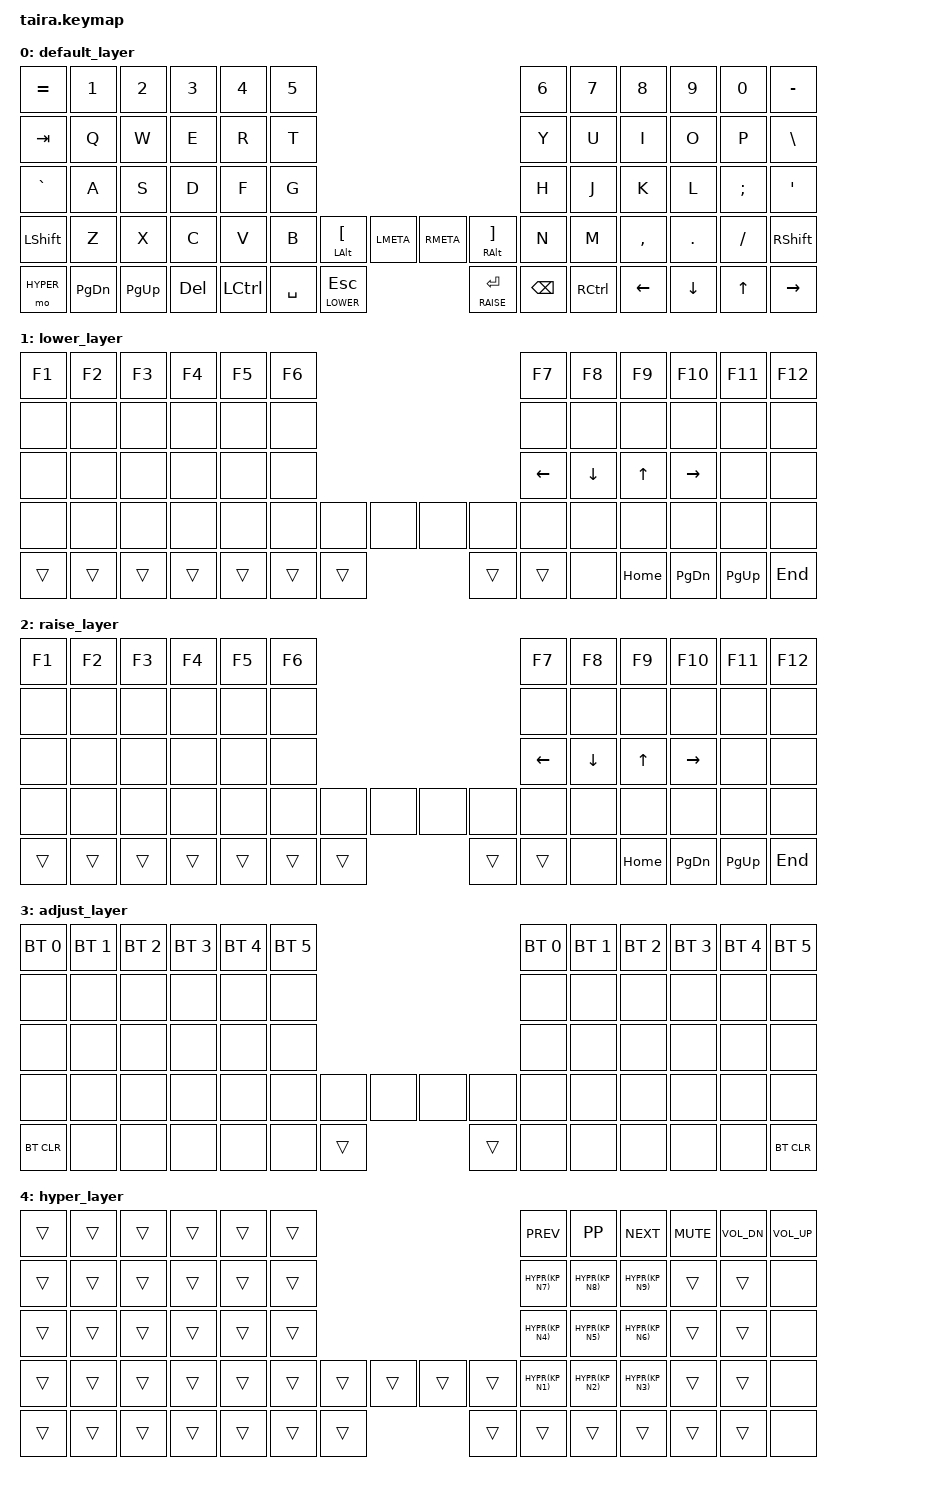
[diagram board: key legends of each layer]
/*
 * Copyright (c) 2020 The ZMK Contributors
 *
 * SPDX-License-Identifier: MIT
 */

#include <behaviors.dtsi>
#include <dt-bindings/zmk/keys.h>
#include <dt-bindings/zmk/outputs.h>
#include <dt-bindings/zmk/bt.h>

#define DEFAULT 0
#define LOWER   1
#define RAISE   2
#define ADJUST  3
#define HYPER   4

#define HYPR(KC) LA(LG(KC))

/ {

        conditional_layers {
                compatible = "zmk,conditional-layers";

                tri_layer {
                        if-layers  = <1 2>;
                        then-layer = <3>;
                };
        };

        keymap {
                compatible = "zmk,keymap";
                default_layer {
                        bindings = <
&kp EQUAL   &kp N1    &kp N2     &kp N3     &kp N4    &kp N5                                                                                 &kp N6  &kp N7    &kp N8     &kp N9    &kp N0       &kp MINUS
&kp TAB     &kp Q     &kp W      &kp E      &kp R     &kp T                                                                                  &kp Y   &kp U     &kp I      &kp O     &kp P        &kp BSLH
&kp GRAVE   &kp A     &kp S      &kp D      &kp F     &kp G                                                                                  &kp H   &kp J     &kp K      &kp L     &kp SEMI     &kp SQT
&kp LSHFT   &kp Z     &kp X      &kp C      &kp V     &kp B              &mt LALT LBKT   &kp LMETA      &kp RMETA        &mt RALT RBKT         &kp N   &kp M     &kp COMMA  &kp DOT   &kp SLASH    &kp RSHFT
&mo HYPER   &kp PG_DN  &kp PG_UP   &kp DEL                       &kp LCTRL &kp SPACE   &lt LOWER ESC    &lt RAISE ENTER  &kp BSPC &kp RCTRL                      &kp LEFT   &kp DOWN  &kp UP       &kp RIGHT
                        >;
                };

                lower_layer {
                        bindings = <
&kp F1    &kp F2      &kp F3     &kp F4    &kp F5    &kp F6                                                                       &kp F7    &kp F8      &kp F9     &kp F10     &kp F11     &kp  F12
&none     &none       &none      &none     &none     &none                                                                        &none     &none       &none      &none       &none       &none
&none     &none       &none      &none     &none     &none                                                                        &kp LEFT  &kp DOWN    &kp UP     &kp RIGHT   &none       &none
&none     &none       &none      &none     &none     &none              &none       &none         &none       &none               &none     &none       &none      &none       &none       &none
&trans    &trans      &trans     &trans                       &trans    &trans      &trans        &trans      &trans     &none                          &kp HOME   &kp PG_DN   &kp PG_UP   &kp END
                        >;
                };

                raise_layer {
                        bindings = <
&kp F1    &kp F2      &kp F3     &kp F4    &kp F5    &kp F6                                                                       &kp F7    &kp F8      &kp F9     &kp F10     &kp F11     &kp  F12
&none     &none       &none      &none     &none     &none                                                                        &none     &none       &none      &none       &none       &none
&none     &none       &none      &none     &none     &none                                                                        &kp LEFT  &kp DOWN    &kp UP     &kp RIGHT   &none       &none
&none     &none       &none      &none     &none     &none              &none       &none         &none       &none               &none     &none       &none      &none       &none       &none
&trans    &trans      &trans     &trans                       &trans    &trans      &trans        &trans      &trans     &none                          &kp HOME   &kp PG_DN   &kp PG_UP   &kp END
                        >;
                };

                adjust_layer {
                        bindings = <
&bt BT_SEL 0 &bt BT_SEL 1 &bt BT_SEL 2 &bt BT_SEL 3 &bt BT_SEL 4 &bt BT_SEL 5                                                                          &bt BT_SEL 0 &bt BT_SEL 1 &bt BT_SEL 2 &bt BT_SEL 3 &bt BT_SEL 4 &bt BT_SEL 5
&none        &none        &none        &none        &none        &none                                                                                 &none        &none        &none        &none        &none        &none
&none        &none        &none        &none        &none        &none                                                                                 &none        &none        &none        &none        &none        &none
&none        &none        &none        &none        &none        &none                     &none       &none         &none       &none                 &none        &none        &none        &none        &none        &none
&bt BT_CLR   &none        &none        &none                                     &none     &none       &trans        &trans      &none     &none                                 &none        &none        &none        &bt BT_CLR
                        >;
                };

                hyper_layer {
                        bindings = <
&trans        &trans     &trans      &trans      &trans      &trans                                                                         &kp K_PREV        &kp K_PP         &kp K_NEXT        &kp K_MUTE  &kp K_VOL_DN  &kp K_VOL_UP
&trans        &trans     &trans      &trans      &trans      &trans                                                                         &kp HYPR(KP_N7)   &kp HYPR(KP_N8)  &kp HYPR(KP_N9)   &trans      &trans        &none
&trans        &trans     &trans      &trans      &trans      &trans                                                                         &kp HYPR(KP_N4)   &kp HYPR(KP_N5)  &kp HYPR(KP_N6)   &trans      &trans        &none
&trans        &trans     &trans      &trans      &trans      &trans             &trans      &trans        &trans      &trans                &kp HYPR(KP_N1)   &kp HYPR(KP_N2)  &kp HYPR(KP_N3)   &trans      &trans        &none
&trans        &trans     &trans      &trans                           &trans    &trans      &trans        &trans      &trans    &trans                                         &trans            &trans      &trans        &none
                        >;
                };
        };
};
